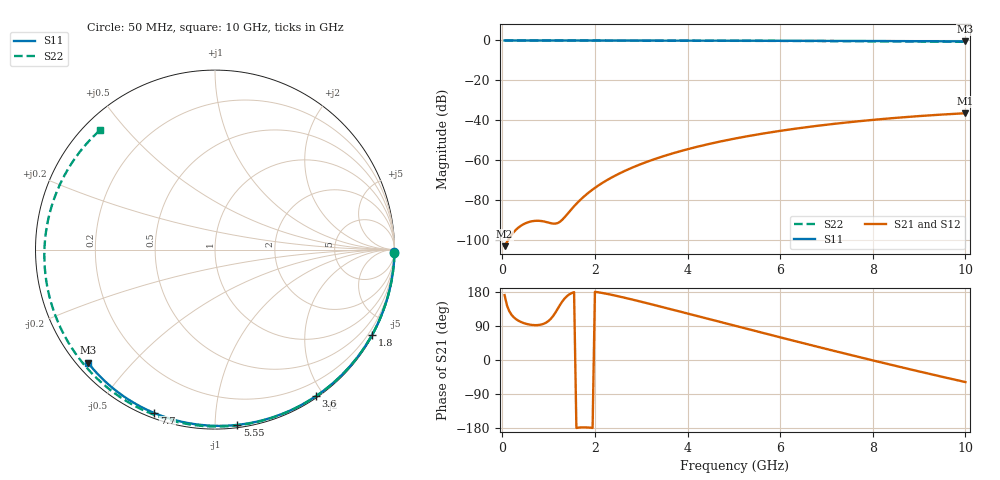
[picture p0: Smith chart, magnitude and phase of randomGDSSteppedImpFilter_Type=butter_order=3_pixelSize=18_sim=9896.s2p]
! freq	dB(S11)	phase(S11)	dB(S12)	phase(S12)
!  dB(S21)	phase(S21)	dB(S22)	phase(S22)
!S-par simulation data
#  GHz  S  DB  R 50
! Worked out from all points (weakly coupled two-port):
!   200 points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, 50 MHz to 10 GHz, reference 50 ohm
!   highest |S21| = -36.50 dB at 10 GHz (marker M1); lowest = -103.2 dB at 50 MHz (marker M2)
!   lowest |S11| = -0.5 dB at 10 GHz (marker M3), VSWR 37.08, Z = 1.54 - j19 ohm
!   |S11| at or under -10 dB: nowhere
!   |S22| runs from -0.7 to 0.0 dB; largest |S21 - S12| = 0
!   S11 on the Smith chart (normalised r, x): 50 MHz: open; 1.8 GHz: 0.03, -3.95; 3.6 GHz: 0.02, -1.90; 5.55 GHz: 0.02, -1.14; 7.7 GHz: 0.02, -0.69; 10 GHz: 0.03, -0.38
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0.05  -0.00 -0.8  -103.17 171.2  -103.17 171.2  -0.00 -1.2
0.8  -0.02 -12.7  -90.46 92.6  -90.46 92.6  -0.02 -19.1
1.65  -0.03 -26.1  -80.73 -178.4  -80.73 -178.4  -0.05 -39.0
1.7  -0.03 -26.8  -79.61 -177.9  -79.61 -177.9  -0.05 -40.2
1.75  -0.04 -27.6  -78.55 -177.7  -78.55 -177.7  -0.05 -41.3
1.8  -0.04 -28.4  -77.53 -177.8  -77.53 -177.8  -0.05 -42.5
2.1  -0.04 -33.0  -72.35 178.1  -72.35 178.1  -0.06 -49.3
2.45  -0.05 -38.3  -67.64 169.7  -67.64 169.7  -0.07 -57.2
2.9  -0.06 -45.1  -62.87 156.8  -62.87 156.8  -0.09 -67.2
3.4  -0.07 -52.5  -58.64 141.5  -58.64 141.5  -0.10 -78.1
3.6  -0.07 -55.4  -57.18 135.2  -57.18 135.2  -0.11 -82.4
4.3  -0.09 -65.5  -52.81 113.2  -52.81 113.2  -0.14 -97.2
5.05  -0.12 -75.9  -49.08 89.5  -49.08 89.5  -0.17 -112.7
5.55  -0.14 -82.7  -47.00 73.8  -47.00 73.8  -0.20 -123.0
6.7  -0.19 -97.8  -43.11 38.2  -43.11 38.2  -0.29 -146.7
7.2  -0.22 -104.2  -41.73 22.9  -41.73 22.9  -0.33 -157.3
7.7  -0.25 -110.4  -40.50 7.9  -40.50 7.9  -0.38 -168.2
8.35  -0.30 -118.4  -39.11 -11.3  -39.11 -11.3  -0.46 176.9
8.8  -0.34 -123.9  -38.27 -24.4  -38.27 -24.4  -0.52 166.1
9.2  -0.38 -128.7  -37.61 -35.9  -37.61 -35.9  -0.57 155.9
9.6  -0.42 -133.6  -37.02 -47.2  -37.02 -47.2  -0.63 145.2
10  -0.47 -138.4  -36.50 -58.2  -36.50 -58.2  -0.69 133.8
